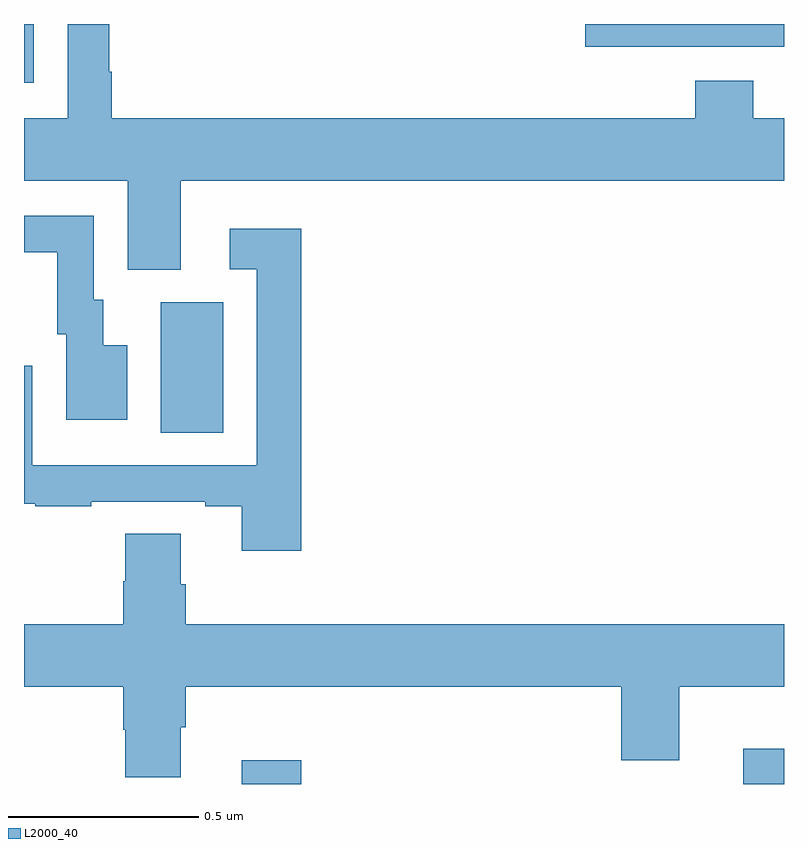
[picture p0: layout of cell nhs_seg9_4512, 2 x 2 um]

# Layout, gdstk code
import gdstk
lib = gdstk.Library(unit=1e-6, precision=1e-09)
def R(c, l, rs):  # rectangles x0, y0, x1, y1
    for r in rs: c.add(gdstk.rectangle(r[:2], r[2:], *l))
def P(c, l, *ps):  # polygons
    for p in ps: c.add(gdstk.Polygon(p, *l))
L2000_40 = (2000, 40)

nhs_seg9_4512 = lib.new_cell('nhs_seg9_4512')
R(nhs_seg9_4512, L2000_40, [(167.573,1193.5,167.729,1193.563), (168.893,1193.5,169,1193.593), (167.36,1194.424,167.524,1194.768), (167,1195.346,167.026,1195.5), (168.477,1195.44,169,1195.5)])
P(nhs_seg9_4512, L2000_40, [(167.413,1195.088),(169,1195.088),(169,1195.252),(168.919,1195.252),(168.919,1195.351),(168.767,1195.351),(168.767,1195.252),(167.231,1195.252),(167.231,1195.374),(167.224,1195.374),(167.224,1195.5),(167.115,1195.5),(167.115,1195.252),(167,1195.252),(167,1195.088),(167.273,1195.088),(167.273,1194.853),(167.413,1194.853)],
  [(167.272,1194.655),(167.209,1194.655),(167.209,1194.774),(167.184,1194.774),(167.184,1194.996),(167,1194.996),(167,1194.9),(167.087,1194.9),(167.087,1194.684),(167.111,1194.684),(167.111,1194.459),(167.272,1194.459)],
  [(167.729,1194.961),(167.541,1194.961),(167.541,1194.855),(167.613,1194.855),(167.613,1194.339),(167.022,1194.339),(167.022,1194.601),(167,1194.601),(167,1194.237),(167.029,1194.237),(167.029,1194.231),(167.177,1194.231),(167.177,1194.243),(167.477,1194.243),(167.477,1194.231),(167.573,1194.231),(167.573,1194.114),(167.729,1194.114)],
  [(167.413,1193.65),(167.426,1193.65),(167.426,1193.756),(168.572,1193.756),(168.572,1193.562),(168.724,1193.562),(168.724,1193.756),(169,1193.756),(169,1193.92),(167.426,1193.92),(167.426,1194.026),(167.413,1194.026),(167.413,1194.158),(167.266,1194.158),(167.266,1194.033),(167.261,1194.033),(167.261,1193.92),(167,1193.92),(167,1193.756),(167.261,1193.756),(167.261,1193.643),(167.266,1193.643),(167.266,1193.518),(167.413,1193.518)])

lib.write_gds('nhs_seg9_4512.gds')
